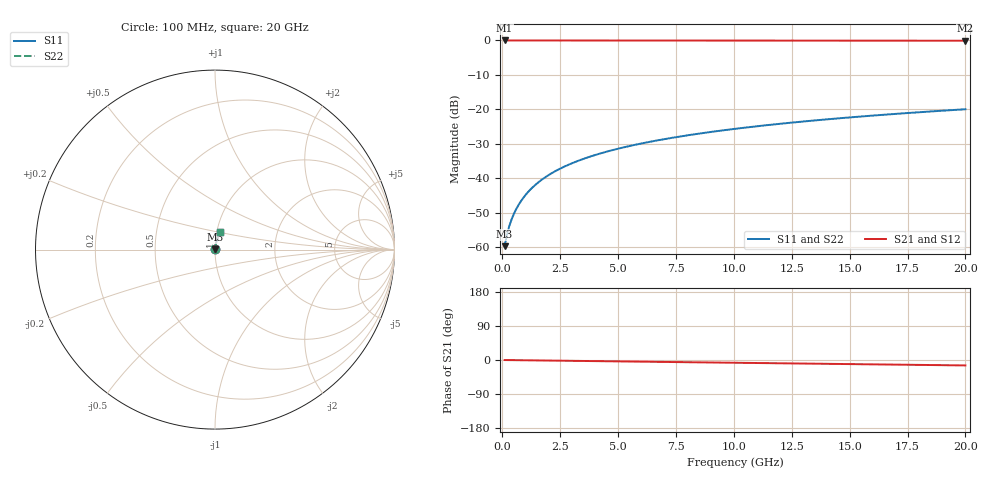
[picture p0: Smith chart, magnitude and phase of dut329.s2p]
! Touchstone file exported from HFSS 2026.1.0
!  File:  C:/ffzhzh/LocalFiles/Ansys_Project_Files/temp_train_BSMRDL_329_1783010964_51716.aedt
!  Generated:  12:50:49 AM Jul  3, 2026
!  Design:  BSMRDL
!  Project:  temp_train_BSMRDL_329_1783010964_51716
! Variables:
!  h_bsmrdl = 5.08um
!  h_ox = 20um
!  h_rdl = 5um
!  h_sub = 80um
!  h_tmrdl = 5um
!  h_tsv = 80um
!  h_via = 3um
!  l_bsmrdl = 210.86um
!  l_sub = 610.86um
!  l_tmrdl = 200um
!  m_sub = 200um
!  pitch = 38.44um
!  r_tsv = 6um
!  s_tmrdl = 10um
!  w_bsmrdl = 23.21um
!  w_sub = 500um
!  w_tmrdl = 12um
!  x_tsv_center1 = 206um
!  x_tsv_center2 = 440.07um
!  x_tsv_center3 = 652.07um
!  x_tsv_center4 = 886.14um
!  x_tsv_center5 = 1098.14um
!  x_tsv_center6 = 1332.21um
# GHz S MA R 50.000000
! Terminal data exported
! Port[1] = BSM_RDL1_1_T1
! Port[2] = BSM_RDL1_1_T2
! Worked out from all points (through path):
!   200 points, 100 MHz to 20 GHz, reference 50 ohm
!   highest |S21| = -0.01 dB at 100 MHz (marker M1); lowest = -0.1 dB at 20 GHz (marker M2)
!   group delay of S21, straight-line fit = 1.99 ps
!   lowest |S11| = -59.7 dB at 100 MHz (marker M3), VSWR 1.00, Z = 50.1 + j0.0647 ohm
!   |S11| at or under -10 dB: start of sweep to end of sweep
!   |S22| runs from -59.7 to -20.0 dB; largest |S21 - S12| = 3e-15
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0.1  0.001033 38.7  0.9992 -0.1  0.9992 -0.1  0.001033 38.7
! Gamma 0 0 0 0
! Port Impedance 50 0 50 0
0.2  0.001512 54.5  0.9991 -0.2  0.9991 -0.2  0.001512 54.5
0.3  0.002011 62.3  0.9991 -0.2  0.9991 -0.2  0.002011 62.3
0.4  0.002518 67.2  0.999 -0.3  0.999 -0.3  0.002518 67.2
0.5  0.003034 70.6  0.999 -0.4  0.999 -0.4  0.003034 70.6
0.6  0.003558 73.1  0.999 -0.5  0.999 -0.5  0.003558 73.1
0.8  0.004623 76.4  0.9989 -0.6  0.9989 -0.6  0.004623 76.4
1.1  0.006241 79.1  0.9989 -0.8  0.9989 -0.8  0.006241 79.1
1.3  0.007326 80.1  0.9988 -1.0  0.9988 -1.0  0.007326 80.1
1.6  0.008952 81.1  0.9987 -1.2  0.9987 -1.2  0.008952 81.1
2.1  0.01165 81.9  0.9986 -1.6  0.9986 -1.6  0.01165 81.9
2.7  0.01486 82.1  0.9984 -2.0  0.9984 -2.0  0.01486 82.1
3.5  0.01908 82.1  0.9981 -2.6  0.9981 -2.6  0.01908 82.1
4.2  0.02272 81.9  0.9978 -3.1  0.9978 -3.1  0.02272 81.9
5  0.02683 81.6  0.9974 -3.7  0.9974 -3.7  0.02683 81.6
5.9  0.0314 81.2  0.997 -4.3  0.997 -4.3  0.0314 81.2
6.8  0.03594 80.7  0.9967 -5.0  0.9967 -5.0  0.03594 80.7
8.3  0.04344 80.0  0.996 -6.0  0.996 -6.0  0.04345 80.0
10.1  0.05238 79.0  0.9953 -7.3  0.9953 -7.3  0.05238 79.0
13.4  0.06857 77.1  0.9937 -9.7  0.9937 -9.7  0.06857 77.1
16.7  0.08454 75.0  0.992 -12.0  0.992 -12.0  0.08454 75.0
20  0.1003 72.9  0.9902 -14.3  0.9902 -14.3  0.1003 72.9
